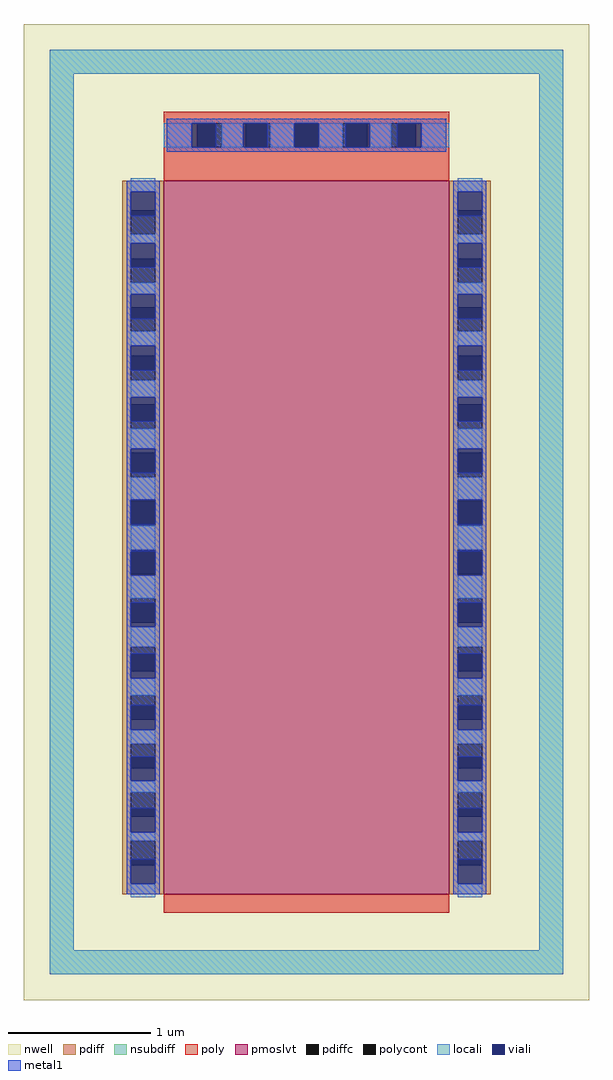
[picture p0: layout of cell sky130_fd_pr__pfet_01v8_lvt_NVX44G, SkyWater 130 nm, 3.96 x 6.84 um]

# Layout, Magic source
magic
tech sky130A
magscale 1 2
<< nwell >>
rect -396 -684 396 684
<< pmoslvt >>
rect -200 -536 200 464
<< pdiff >>
rect -258 423 -200 464
rect -258 389 -246 423
rect -212 389 -200 423
rect -258 355 -200 389
rect -258 321 -246 355
rect -212 321 -200 355
rect -258 287 -200 321
rect -258 253 -246 287
rect -212 253 -200 287
rect -258 219 -200 253
rect -258 185 -246 219
rect -212 185 -200 219
rect -258 151 -200 185
rect -258 117 -246 151
rect -212 117 -200 151
rect -258 83 -200 117
rect -258 49 -246 83
rect -212 49 -200 83
rect -258 15 -200 49
rect -258 -19 -246 15
rect -212 -19 -200 15
rect -258 -53 -200 -19
rect -258 -87 -246 -53
rect -212 -87 -200 -53
rect -258 -121 -200 -87
rect -258 -155 -246 -121
rect -212 -155 -200 -121
rect -258 -189 -200 -155
rect -258 -223 -246 -189
rect -212 -223 -200 -189
rect -258 -257 -200 -223
rect -258 -291 -246 -257
rect -212 -291 -200 -257
rect -258 -325 -200 -291
rect -258 -359 -246 -325
rect -212 -359 -200 -325
rect -258 -393 -200 -359
rect -258 -427 -246 -393
rect -212 -427 -200 -393
rect -258 -461 -200 -427
rect -258 -495 -246 -461
rect -212 -495 -200 -461
rect -258 -536 -200 -495
rect 200 423 258 464
rect 200 389 212 423
rect 246 389 258 423
rect 200 355 258 389
rect 200 321 212 355
rect 246 321 258 355
rect 200 287 258 321
rect 200 253 212 287
rect 246 253 258 287
rect 200 219 258 253
rect 200 185 212 219
rect 246 185 258 219
rect 200 151 258 185
rect 200 117 212 151
rect 246 117 258 151
rect 200 83 258 117
rect 200 49 212 83
rect 246 49 258 83
rect 200 15 258 49
rect 200 -19 212 15
rect 246 -19 258 15
rect 200 -53 258 -19
rect 200 -87 212 -53
rect 246 -87 258 -53
rect 200 -121 258 -87
rect 200 -155 212 -121
rect 246 -155 258 -121
rect 200 -189 258 -155
rect 200 -223 212 -189
rect 246 -223 258 -189
rect 200 -257 258 -223
rect 200 -291 212 -257
rect 246 -291 258 -257
rect 200 -325 258 -291
rect 200 -359 212 -325
rect 246 -359 258 -325
rect 200 -393 258 -359
rect 200 -427 212 -393
rect 246 -427 258 -393
rect 200 -461 258 -427
rect 200 -495 212 -461
rect 246 -495 258 -461
rect 200 -536 258 -495
<< pdiffc >>
rect -246 389 -212 423
rect -246 321 -212 355
rect -246 253 -212 287
rect -246 185 -212 219
rect -246 117 -212 151
rect -246 49 -212 83
rect -246 -19 -212 15
rect -246 -87 -212 -53
rect -246 -155 -212 -121
rect -246 -223 -212 -189
rect -246 -291 -212 -257
rect -246 -359 -212 -325
rect -246 -427 -212 -393
rect -246 -495 -212 -461
rect 212 389 246 423
rect 212 321 246 355
rect 212 253 246 287
rect 212 185 246 219
rect 212 117 246 151
rect 212 49 246 83
rect 212 -19 246 15
rect 212 -87 246 -53
rect 212 -155 246 -121
rect 212 -223 246 -189
rect 212 -291 246 -257
rect 212 -359 246 -325
rect 212 -427 246 -393
rect 212 -495 246 -461
<< nsubdiff >>
rect -360 614 360 648
rect -360 -614 -326 614
rect 326 -614 360 614
rect -360 -648 360 -614
<< poly >>
rect -200 545 200 561
rect -200 511 -153 545
rect -119 511 -85 545
rect -51 511 -17 545
rect 17 511 51 545
rect 85 511 119 545
rect 153 511 200 545
rect -200 464 200 511
rect -200 -562 200 -536
<< polycont >>
rect -153 511 -119 545
rect -85 511 -51 545
rect -17 511 17 545
rect 51 511 85 545
rect 119 511 153 545
<< locali >>
rect -360 614 360 648
rect -360 -614 -326 614
rect -200 511 -161 545
rect -119 511 -89 545
rect -51 511 -17 545
rect 17 511 51 545
rect 89 511 119 545
rect 161 511 200 545
rect -246 449 -212 468
rect -246 377 -212 389
rect -246 305 -212 321
rect -246 233 -212 253
rect -246 161 -212 185
rect -246 89 -212 117
rect -246 17 -212 49
rect -246 -53 -212 -19
rect -246 -121 -212 -89
rect -246 -189 -212 -161
rect -246 -257 -212 -233
rect -246 -325 -212 -305
rect -246 -393 -212 -377
rect -246 -461 -212 -449
rect -246 -540 -212 -521
rect 212 449 246 468
rect 212 377 246 389
rect 212 305 246 321
rect 212 233 246 253
rect 212 161 246 185
rect 212 89 246 117
rect 212 17 246 49
rect 212 -53 246 -19
rect 212 -121 246 -89
rect 212 -189 246 -161
rect 212 -257 246 -233
rect 212 -325 246 -305
rect 212 -393 246 -377
rect 212 -461 246 -449
rect 212 -540 246 -521
rect 326 -614 360 614
rect -360 -648 360 -614
<< viali >>
rect -161 511 -153 545
rect -153 511 -127 545
rect -89 511 -85 545
rect -85 511 -55 545
rect -17 511 17 545
rect 55 511 85 545
rect 85 511 89 545
rect 127 511 153 545
rect 153 511 161 545
rect -246 423 -212 449
rect -246 415 -212 423
rect -246 355 -212 377
rect -246 343 -212 355
rect -246 287 -212 305
rect -246 271 -212 287
rect -246 219 -212 233
rect -246 199 -212 219
rect -246 151 -212 161
rect -246 127 -212 151
rect -246 83 -212 89
rect -246 55 -212 83
rect -246 15 -212 17
rect -246 -17 -212 15
rect -246 -87 -212 -55
rect -246 -89 -212 -87
rect -246 -155 -212 -127
rect -246 -161 -212 -155
rect -246 -223 -212 -199
rect -246 -233 -212 -223
rect -246 -291 -212 -271
rect -246 -305 -212 -291
rect -246 -359 -212 -343
rect -246 -377 -212 -359
rect -246 -427 -212 -415
rect -246 -449 -212 -427
rect -246 -495 -212 -487
rect -246 -521 -212 -495
rect 212 423 246 449
rect 212 415 246 423
rect 212 355 246 377
rect 212 343 246 355
rect 212 287 246 305
rect 212 271 246 287
rect 212 219 246 233
rect 212 199 246 219
rect 212 151 246 161
rect 212 127 246 151
rect 212 83 246 89
rect 212 55 246 83
rect 212 15 246 17
rect 212 -17 246 15
rect 212 -87 246 -55
rect 212 -89 246 -87
rect 212 -155 246 -127
rect 212 -161 246 -155
rect 212 -223 246 -199
rect 212 -233 246 -223
rect 212 -291 246 -271
rect 212 -305 246 -291
rect 212 -359 246 -343
rect 212 -377 246 -359
rect 212 -427 246 -415
rect 212 -449 246 -427
rect 212 -495 246 -487
rect 212 -521 246 -495
<< metal1 >>
rect -196 545 196 551
rect -196 511 -161 545
rect -127 511 -89 545
rect -55 511 -17 545
rect 17 511 55 545
rect 89 511 127 545
rect 161 511 196 545
rect -196 505 196 511
rect -252 449 -206 464
rect -252 415 -246 449
rect -212 415 -206 449
rect -252 377 -206 415
rect -252 343 -246 377
rect -212 343 -206 377
rect -252 305 -206 343
rect -252 271 -246 305
rect -212 271 -206 305
rect -252 233 -206 271
rect -252 199 -246 233
rect -212 199 -206 233
rect -252 161 -206 199
rect -252 127 -246 161
rect -212 127 -206 161
rect -252 89 -206 127
rect -252 55 -246 89
rect -212 55 -206 89
rect -252 17 -206 55
rect -252 -17 -246 17
rect -212 -17 -206 17
rect -252 -55 -206 -17
rect -252 -89 -246 -55
rect -212 -89 -206 -55
rect -252 -127 -206 -89
rect -252 -161 -246 -127
rect -212 -161 -206 -127
rect -252 -199 -206 -161
rect -252 -233 -246 -199
rect -212 -233 -206 -199
rect -252 -271 -206 -233
rect -252 -305 -246 -271
rect -212 -305 -206 -271
rect -252 -343 -206 -305
rect -252 -377 -246 -343
rect -212 -377 -206 -343
rect -252 -415 -206 -377
rect -252 -449 -246 -415
rect -212 -449 -206 -415
rect -252 -487 -206 -449
rect -252 -521 -246 -487
rect -212 -521 -206 -487
rect -252 -536 -206 -521
rect 206 449 252 464
rect 206 415 212 449
rect 246 415 252 449
rect 206 377 252 415
rect 206 343 212 377
rect 246 343 252 377
rect 206 305 252 343
rect 206 271 212 305
rect 246 271 252 305
rect 206 233 252 271
rect 206 199 212 233
rect 246 199 252 233
rect 206 161 252 199
rect 206 127 212 161
rect 246 127 252 161
rect 206 89 252 127
rect 206 55 212 89
rect 246 55 252 89
rect 206 17 252 55
rect 206 -17 212 17
rect 246 -17 252 17
rect 206 -55 252 -17
rect 206 -89 212 -55
rect 246 -89 252 -55
rect 206 -127 252 -89
rect 206 -161 212 -127
rect 246 -161 252 -127
rect 206 -199 252 -161
rect 206 -233 212 -199
rect 246 -233 252 -199
rect 206 -271 252 -233
rect 206 -305 212 -271
rect 246 -305 252 -271
rect 206 -343 252 -305
rect 206 -377 212 -343
rect 246 -377 252 -343
rect 206 -415 252 -377
rect 206 -449 212 -415
rect 246 -449 252 -415
rect 206 -487 252 -449
rect 206 -521 212 -487
rect 246 -521 252 -487
rect 206 -536 252 -521
<< properties >>
string FIXED_BBOX -343 -631 343 631
<< end >>
